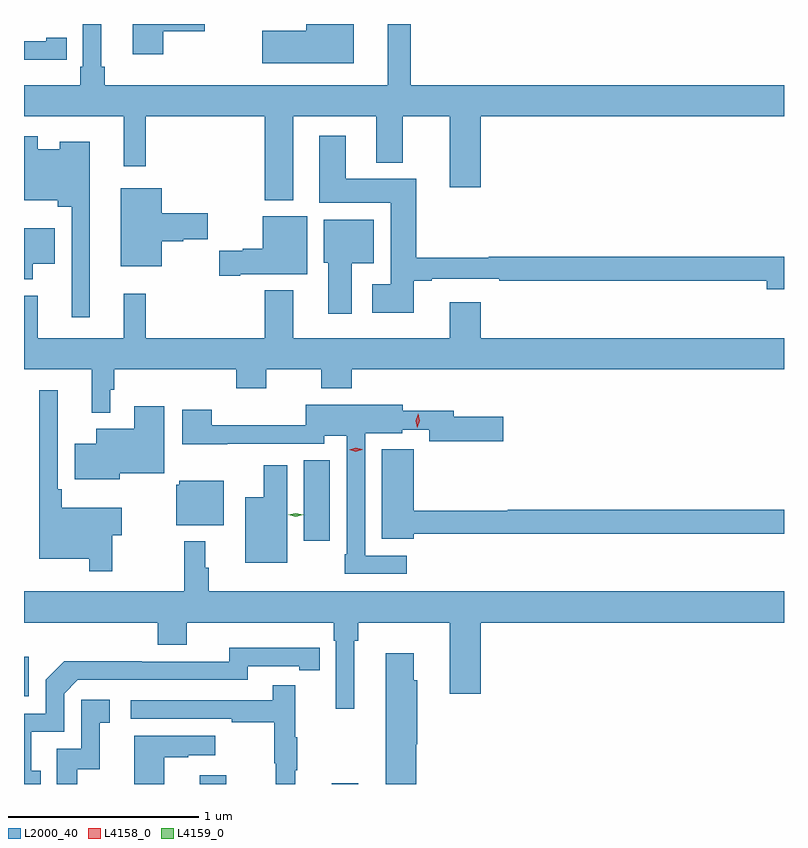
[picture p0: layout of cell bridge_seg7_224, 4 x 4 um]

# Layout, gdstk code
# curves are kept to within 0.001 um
import gdstk
lib = gdstk.Library(unit=1e-6, precision=1e-09)
def R(c, l, rs):  # rectangles x0, y0, x1, y1
    for r in rs: c.add(gdstk.rectangle(r[:2], r[2:], *l))
def P(c, l, *ps):  # polygons
    for p in ps: c.add(gdstk.Polygon(p, *l))
L2000_40 = (2000, 40)
L4158_0 = (4158, 0)
L4159_0 = (4159, 0)

bridge_seg7_224 = lib.new_cell('bridge_seg7_224')
R(bridge_seg7_224, L2000_40, [(295.559,998.434,295.699,998.479), (296.255,998.434,296.395,998.437), (294.635,998.895,294.66,999.103), (296.108,999.714,296.245,1000.139)])
P(bridge_seg7_224, L2000_40, [(295.367,1002.395),(295.585,1002.395),(295.585,1002.434),(295.208,1002.434),(295.208,1002.276),(295.367,1002.276)],
  [(296.371,1002.434),(296.12,1002.434),(296.12,1002.398),(295.89,1002.398),(295.89,1002.227),(296.371,1002.227)],
  [(296.053,1001.948),(296.489,1001.948),(296.489,1001.705),(296.629,1001.705),(296.629,1001.948),(296.876,1001.948),(296.876,1001.574),(297.04,1001.574),(297.04,1001.948),(298.635,1001.948),(298.635,1002.112),(296.671,1002.112),(296.671,1002.434),(296.549,1002.434),(296.549,1002.112),(295.061,1002.112),(295.061,1002.208),(295.042,1002.208),(295.042,1002.434),(294.945,1002.434),(294.945,1002.208),(294.932,1002.208),(294.932,1002.112),(294.635,1002.112),(294.635,1001.948),(295.16,1001.948),(295.16,1001.685),(295.277,1001.685),(295.277,1001.948),(295.901,1001.948),(295.901,1001.507),(296.053,1001.507)],
  [(294.752,1002.246),(294.86,1002.246),(294.86,1002.362),(294.752,1002.362),(294.752,1002.342),(294.635,1002.342),(294.635,1002.245),(294.752,1002.245)],
  [(296.686,1001.082),(296.782,1001.082),(296.782,1001.094),(297.136,1001.094),(297.136,1001.082),(298.544,1001.082),(298.544,1001.039),(298.635,1001.039),(298.635,1001.21),(297.082,1001.21),(297.082,1001.203),(296.699,1001.203),(296.699,1001.62),(296.329,1001.62),(296.329,1001.845),(296.189,1001.845),(296.189,1001.492),(296.564,1001.492),(296.564,1001.065),(296.469,1001.065),(296.469,1000.913),(296.686,1000.913)],
  [(294.982,1001.815),(294.824,1001.815),(294.824,1001.776),(294.708,1001.776),(294.708,1001.842),(294.635,1001.842),(294.635,1001.507),(294.812,1001.507),(294.812,1001.471),(294.885,1001.471),(294.885,1000.89),(294.982,1000.89)],
  [(295.36,1001.291),(295.473,1001.291),(295.473,1001.302),(295.603,1001.302),(295.603,1001.438),(295.36,1001.438),(295.36,1001.569),(295.145,1001.569),(295.145,1001.159),(295.36,1001.159)],
  [(295.774,1001.117),(296.125,1001.117),(296.125,1001.422),(295.892,1001.422),(295.892,1001.252),(295.785,1001.252),(295.785,1001.24),(295.662,1001.24),(295.662,1001.11),(295.774,1001.11)],
  [(296.359,1001.174),(296.476,1001.174),(296.476,1001.404),(296.213,1001.404),(296.213,1001.178),(296.237,1001.178),(296.237,1000.908),(296.359,1000.908)],
  [(294.682,1001.171),(294.796,1001.171),(294.796,1001.359),(294.635,1001.359),(294.635,1001.09),(294.682,1001.09)],
  [(295.089,1000.51),(295.109,1000.51),(295.109,1000.616),(295.751,1000.616),(295.751,1000.517),(295.911,1000.517),(295.911,1000.616),(296.2,1000.616),(296.2,1000.517),(296.36,1000.517),(296.36,1000.616),(298.635,1000.616),(298.635,1000.78),(297.04,1000.78),(297.04,1000.969),(296.876,1000.969),(296.876,1000.78),(296.053,1000.78),(296.053,1001.032),(295.901,1001.032),(295.901,1000.78),(295.277,1000.78),(295.277,1001.014),(295.16,1001.014),(295.16,1000.78),(294.707,1000.78),(294.707,1001.005),(294.635,1001.005),(294.635,1000.616),(294.992,1000.616),(294.992,1000.388),(295.089,1000.388)],
  [(295.099,999.742),(295.15,999.742),(295.15,999.889),(294.833,999.889),(294.833,999.985),(294.813,999.985),(294.813,1000.507),(294.716,1000.507),(294.716,999.62),(294.978,999.62),(294.978,999.555),(295.099,999.555)],
  [(296.65,999.636),(296.43,999.636),(296.43,1000.28),(296.625,1000.28),(296.625,1000.299),(296.768,1000.299),(296.768,1000.237),(297.157,1000.237),(297.157,1000.366),(296.896,1000.366),(296.896,1000.398),(296.629,1000.398),(296.629,1000.429),(296.118,1000.429),(296.118,1000.322),(295.622,1000.322),(295.622,1000.405),(295.469,1000.405),(295.469,1000.223),(295.705,1000.223),(295.705,1000.224),(296.214,1000.224),(296.214,1000.268),(296.334,1000.268),(296.334,999.643),(296.322,999.643),(296.322,999.54),(296.65,999.54)],
  [(295.138,1000.07),(295.372,1000.07),(295.372,1000.423),(295.214,1000.423),(295.214,1000.303),(295.016,1000.303),(295.016,1000.225),(294.902,1000.225),(294.902,1000.037),(295.138,1000.037)],
  [(296.686,999.75),(298.635,999.75),(298.635,999.878),(297.182,999.878),(297.182,999.871),(296.686,999.871),(296.686,1000.195),(296.519,1000.195),(296.519,999.725),(296.686,999.725)],
  [(296.02,1000.111),(295.898,1000.111),(295.898,999.943),(295.799,999.943),(295.799,999.599),(296.02,999.599)],
  [(295.687,1000.03),(295.452,1000.03),(295.452,1000.008),(295.436,1000.008),(295.436,999.797),(295.687,999.797)],
  [(295.589,999.572),(295.589,999.712),(295.479,999.712),(295.479,999.448),(294.635,999.448),(294.635,999.284),(295.34,999.284),(295.34,999.167),(295.492,999.167),(295.492,999.284),(296.264,999.284),(296.264,999.188),(296.277,999.188),(296.277,998.829),(296.374,998.829),(296.374,999.188),(296.393,999.188),(296.393,999.284),(296.876,999.284),(296.876,998.91),(297.04,998.91),(297.04,999.284),(298.635,999.284),(298.635,999.448),(295.607,999.448),(295.607,999.572)],
  [(294.722,998.505),(294.673,998.505),(294.673,998.709),(294.846,998.709),(294.846,998.91),(294.918,998.982),(295.812,998.982),(295.812,999.054),(296.084,999.054),(296.084,999.034),(296.192,999.034),(296.192,999.15),(295.716,999.151),(295.716,999.078),(295.256,999.078),(295.256,999.08),(294.848,999.08),(294.75,998.982),(294.75,998.805),(294.635,998.805),(294.635,998.434),(294.722,998.434)],
  [(296.699,998.643),(296.704,998.643),(296.704,998.979),(296.686,998.979),(296.686,999.121),(296.54,999.121),(296.54,998.434),(296.699,998.434)],
  [(296.063,998.507),(296.074,998.507),(296.074,998.681),(296.063,998.681),(296.063,998.953),(295.945,998.953),(295.945,998.874),(295.197,998.874),(295.197,998.778),(295.729,998.778),(295.729,998.758),(295.953,998.758),(295.953,998.544),(295.96,998.544),(295.96,998.434),(296.063,998.434)],
  [(294.916,998.511),(295.034,998.511),(295.034,998.757),(295.087,998.757),(295.087,998.878),(294.936,998.878),(294.936,998.619),(294.807,998.619),(294.807,998.434),(294.916,998.434)],
  [(295.372,998.575),(295.499,998.575),(295.499,998.585),(295.642,998.585),(295.642,998.689),(295.214,998.689),(295.214,998.434),(295.372,998.434)])
P(bridge_seg7_224, L4158_0, [(296.704,1000.31),(296.704,1000.31),(296.698,1000.347),(296.711,1000.382),(296.711,1000.382),(296.711,1000.382),(296.718,1000.345),(296.705,1000.31)],
  [(296.382,1000.184),(296.346,1000.193),(296.346,1000.193),(296.346,1000.194),(296.381,1000.204),(296.416,1000.195),(296.416,1000.195),(296.416,1000.194)])
P(bridge_seg7_224, L4159_0, [(296.066,999.84),(296.025,999.85),(296.025,999.85),(296.025,999.85),(296.066,999.86),(296.106,999.85),(296.107,999.85),(296.106,999.85)])

lib.write_gds('bridge_seg7_224.gds')
